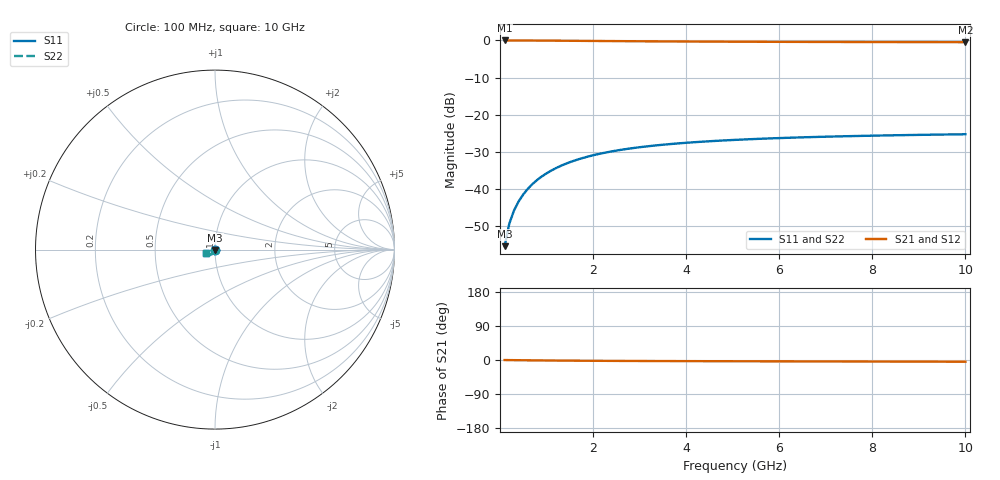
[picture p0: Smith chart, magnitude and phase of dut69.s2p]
! Touchstone file exported from HFSS 2024.1.0
!  File:  C:/UserFiles/LocalFiles/RDL_TSV_Batchsim/temp_TSV1_69_1778750087.aedt
!  Generated:  05:19:06 PM May 14, 2026
!  Design:  TSV1
!  Project:  temp_TSV1_69_1778750087
!  Setup:  Setup1
!  Solution:  Sweep
! Variables:
!  dtsv = 16.19um
!  hbump = 3um
!  htsv = 65.6um
!  lrdl = 252.1521522um
!  p = 40
!  p1 = 53.93um
!  t = 500um
!  trdl = 3um
!  wrdl = 24.89489489um
# GHz S MA R 50.000000
! Terminal data exported
! Port[1] = TSV22_T1
! Port[2] = TSV22_T2
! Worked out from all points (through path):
!   100 points, 100 MHz to 10 GHz, reference 50 ohm
!   highest |S21| = 0.00 dB at 100 MHz (marker M1); lowest = -0.5 dB at 10 GHz (marker M2)
!   lowest |S11| = -55.3 dB at 100 MHz (marker M3), VSWR 1.00, Z = 50 - j0.171 ohm
!   |S11| at or under -10 dB: start of sweep to end of sweep
!   |S22| runs from -55.3 to -25.2 dB; largest |S21 - S12| = 8.2e-15
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0.1  0.001708 -89.6  0.9999 -0.1  0.9999 -0.1  0.001708 -89.6
! Gamma 0 0 0 0
! Port Impedance 50 0 50 0
0.2  0.003418 -92.4  0.9997 -0.3  0.9997 -0.3  0.003418 -92.4
0.3  0.005123 -94.6  0.9994 -0.4  0.9994 -0.4  0.005123 -94.6
0.4  0.006813 -96.7  0.999 -0.5  0.999 -0.5  0.006813 -96.7
0.5  0.00848 -98.7  0.9985 -0.7  0.9985 -0.7  0.00848 -98.7
0.6  0.01012 -100.6  0.9979 -0.8  0.9979 -0.8  0.01012 -100.6
0.7  0.01172 -102.5  0.9972 -0.9  0.9972 -0.9  0.01172 -102.5
0.8  0.01329 -104.3  0.9965 -1.0  0.9965 -1.0  0.01329 -104.3
0.9  0.01481 -106.0  0.9957 -1.1  0.9957 -1.1  0.01481 -106.0
1.1  0.01773 -109.4  0.9939 -1.3  0.9939 -1.3  0.01773 -109.4
1.4  0.02176 -114.2  0.9909 -1.6  0.9909 -1.6  0.02176 -114.2
1.6  0.0242 -117.1  0.9888 -1.8  0.9888 -1.8  0.0242 -117.1
1.8  0.02645 -119.9  0.9867 -2.0  0.9867 -2.0  0.02645 -119.9
2.1  0.02949 -123.6  0.9836 -2.2  0.9836 -2.2  0.02949 -123.6
2.5  0.03298 -128.1  0.9797 -2.4  0.9797 -2.4  0.03298 -128.1
2.9  0.03593 -131.9  0.9761 -2.6  0.9761 -2.6  0.03593 -131.9
3.4  0.03901 -136.1  0.972 -2.8  0.972 -2.8  0.03901 -136.1
4.2  0.04286 -141.5  0.9666 -3.0  0.9666 -3.0  0.04286 -141.5
5.1  0.04612 -146.3  0.9617 -3.3  0.9617 -3.3  0.04612 -146.3
6.7  0.05014 -152.8  0.9554 -3.7  0.9554 -3.7  0.05014 -152.8
8.4  0.05292 -157.9  0.9509 -4.1  0.9509 -4.1  0.05292 -157.9
10  0.0547 -161.6  0.9479 -4.5  0.9479 -4.5  0.0547 -161.6
